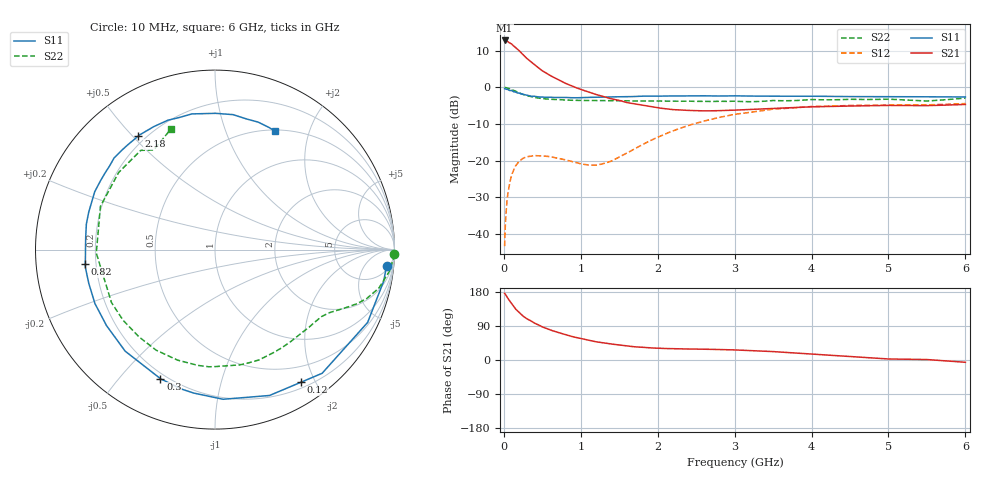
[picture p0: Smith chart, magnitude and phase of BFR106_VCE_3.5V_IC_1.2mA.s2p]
! Infineon Technologies  Discrete & RF Semiconductors
! BFR106
! VCE =  3.5 V,  IC =  1.2 mA
! Common Emitter S-Parameters:  Nov 2015
# GHz  S  MA  R  50
!  f  S11  S21  S12  S22
! GHz  MAG  ANG  MAG  ANG  MAG  ANG  MAG  ANG
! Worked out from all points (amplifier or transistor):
!   210 points, 10 MHz to 6 GHz, reference 50 ohm
!   highest |S21| = 12.8 dB at 10 MHz (marker M1)
!   |S21| within 3 dB of that: start of sweep to 208.6 MHz
!   unconditionally stable (mu >= 1): 848.3 MHz to 2.044 GHz; 2.732 GHz to end of sweep
!   at 185 MHz: K = 0.21, MSG = 15.4 dB, |S12| = -20.5 dB
!   at 1.52 GHz: K = 1.29, MAG = 4.3 dB, |S12| = -18.8 dB
!   at 6 GHz: K = 1.02, MAG = -1.0 dB, |S12| = -4.4 dB
!   S11 on the Smith chart (normalised r, x): 10 MHz: 8, -18; 120 MHz: 0.27, -1.81; 300 MHz: 0.18, -0.65; 820 MHz: 0.16, -0.05; 2.18 GHz: 0.17, +0.52; 6 GHz: 0.52, +1.50
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0.01  0.9602 -5.3  4.37 176.0  0.0068 89.1  0.9999 -1.5
0.025  0.9496 -13.0  4.317 171.8  0.0169 81.3  0.9924 -3.6
0.045  0.9401 -23.0  4.235 164.8  0.0305 76.0  0.9815 -6.4
0.1  0.9117 -49.1  3.922 149.0  0.0631 63.1  0.938 -13.2
0.12  0.8807 -57.0  3.735 143.8  0.0711 57.9  0.9173 -15.0
0.15  0.8677 -69.5  3.52 135.0  0.084 52.0  0.8881 -17.9
0.2  0.8351 -86.9  3.162 125.1  0.0984 44.2  0.8425 -21.1
0.26  0.799 -103.6  2.731 114.3  0.1088 36.1  0.7947 -24.1
0.3  0.7808 -112.9  2.481 108.7  0.113 32.3  0.772 -25.6
0.4  0.7554 -131.5  2.032 97.1  0.1173 24.9  0.7278 -28.9
0.5  0.738 -145.0  1.686 87.3  0.1161 20.5  0.7021 -32.0
0.6  0.7334 -155.8  1.456 79.4  0.1134 18.0  0.689 -35.3
0.82  0.7269 -173.7  1.115 65.9  0.1013 19.0  0.6709 -43.4
1.02  0.7245 173.3  0.923 55.7  0.0898 27.5  0.6631 -51.4
1.4  0.7437 154.3  0.698 42.0  0.0988 57.5  0.6618 -68.3
2.02  0.7595 129.3  0.523 31.0  0.2132 72.0  0.651 -99.3
2.18  0.7635 124.0  0.5 29.8  0.2505 70.3  0.6494 -107.7
3.1  0.7635 97.7  0.494 25.7  0.4417 48.2  0.6403 -158.0
3.5  0.7592 89.8  0.515 22.2  0.5047 38.1  0.6616 -178.3
4.1  0.756 81.2  0.545 14.5  0.5506 24.0  0.678 155.7
5.1  0.7482 70.2  0.566 2.4  0.5754 6.9  0.6822 125.8
6  0.7398 63.1  0.585 -6.0  0.601 -4.0  0.7137 110.3
